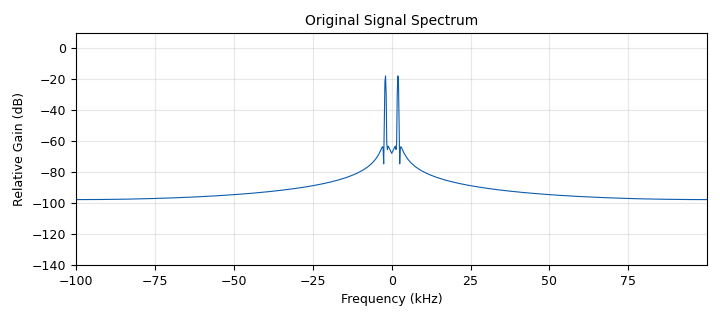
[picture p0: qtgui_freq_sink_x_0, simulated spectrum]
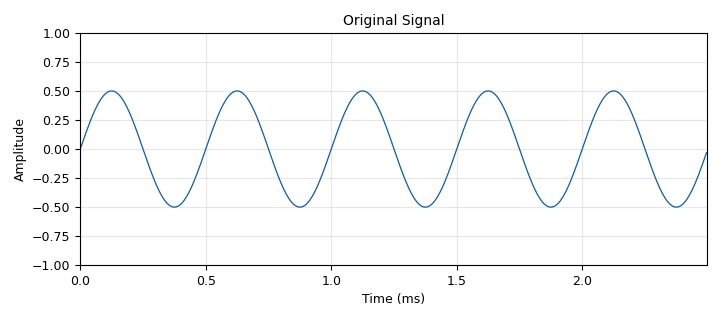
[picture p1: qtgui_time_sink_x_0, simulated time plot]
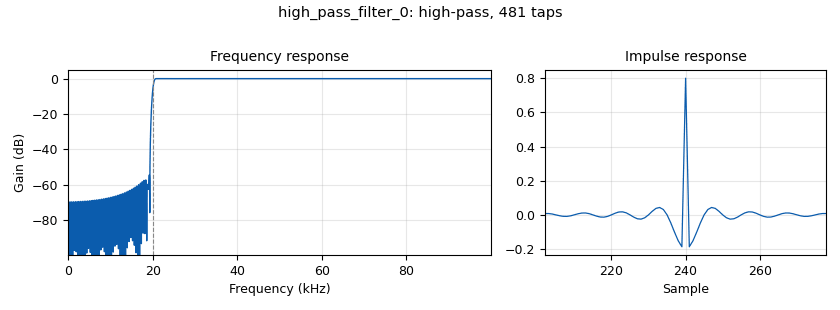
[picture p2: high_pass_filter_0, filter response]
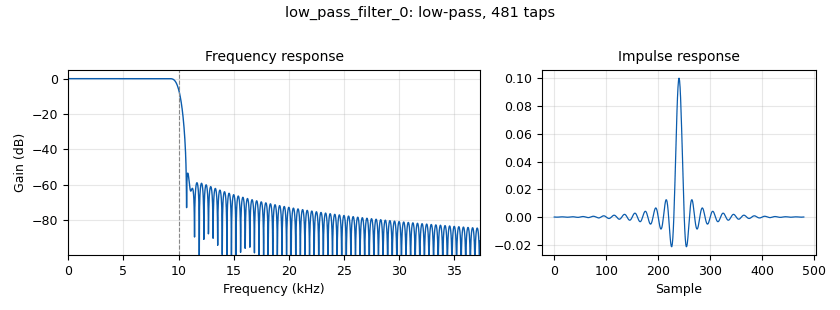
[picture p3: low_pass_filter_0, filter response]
options:
  parameters:
    generate_options: qt_gui
    id: AM_sim_block
    output_language: python
    title: AM Modulation-Demodulation
  states: {}

blocks:
- name: AM_coef
  id: variable_qtgui_range
  parameters:
    gui_hint: 0,0,1,1
    label: 'Ma(amplitude Modulation coefficient):'
    orient: Qt.Horizontal
    start: '0.6'
    step: '0.1'
    stop: '2'
    value: '1'
  states: {}
- name: freq
  id: variable_qtgui_range
  parameters:
    gui_hint: 0,1,1,1
    label: Carrier Frequency
    orient: Qt.Horizontal
    rangeType: int
    start: '18000'
    step: '100'
    stop: '50000'
    value: '25000'
  states: {}
- name: freq0
  id: variable
  parameters:
    value: 2e3
  states: {}
- name: num
  id: variable
  parameters:
    value: '500'
  states: {}
- name: samp_rate
  id: variable
  parameters:
    value: '200000'
  states: {}
- name: signal_select
  id: variable_qtgui_chooser
  parameters:
    gui_hint: 1,0,1,1
    label: SIGNAL SELECT
    label0: WAV
    label1: SINE
    num_opts: '2'
    option0: '1'
    option1: '0'
    type: real
    value: '1'
    widget: radio_buttons
  states: {}
- name: analog_sig_source_x_0
  id: analog_sig_source_x
  parameters:
    amp: '.5'
    comment: |-
      Signal_Generator1
      Signal_source
    freq: freq0
    offset: '0'
    phase: '0'
    samp_rate: samp_rate
    type: float
    waveform: analog.GR_SIN_WAVE
  states: {}
- name: analog_sig_source_x_1
  id: analog_sig_source_x
  parameters:
    amp: '0.5'
    comment: |-
      Signal_Generator3
      CarrierWave
    freq: freq
    offset: '0'
    phase: '0'
    samp_rate: samp_rate
    type: complex
    waveform: analog.GR_COS_WAVE
  states: {}
- name: analog_sig_source_x_1_0
  id: analog_sig_source_x
  parameters:
    amp: '1'
    comment: |-
      Signal_Generator4
      CarrierWave
    freq: freq
    offset: '0'
    phase: '0'
    samp_rate: samp_rate
    type: complex
    waveform: analog.GR_COS_WAVE
  states: {}
- name: analog_sig_source_x_2
  id: analog_sig_source_x
  parameters:
    amp: 0.5/AM_coef
    comment: |-
      Signal_Generator2
      DC_offset
    freq: '2000'
    offset: '0'
    phase: '0'
    samp_rate: samp_rate
    type: float
    waveform: analog.GR_CONST_WAVE
  states: {}
- name: analog_sig_source_x_2_0
  id: analog_sig_source_x
  parameters:
    amp: '0'
    comment: |-
      Signal_Generator2
      DC_offset
    freq: '2000'
    offset: '0'
    phase: '0'
    samp_rate: samp_rate
    type: float
    waveform: analog.GR_CONST_WAVE
  states: {}
- name: audio_sink_0
  id: audio_sink
  parameters:
    samp_rate: samp_rate
  states: {}
- name: blocks_add_xx_0
  id: blocks_add_xx
  parameters:
    type: float
  states: {}
- name: blocks_add_xx_0_0
  id: blocks_add_xx
  parameters:
    type: float
  states: {}
- name: blocks_complex_to_mag_0
  id: blocks_complex_to_mag
  parameters: {}
  states: {}
- name: blocks_complex_to_real_0
  id: blocks_complex_to_real
  parameters: {}
  states: {}
- name: blocks_float_to_complex_0
  id: blocks_float_to_complex
  parameters: {}
  states: {}
- name: blocks_float_to_complex_0_0
  id: blocks_float_to_complex
  parameters: {}
  states: {}
- name: blocks_float_to_complex_1
  id: blocks_float_to_complex
  parameters: {}
  states: {}
- name: blocks_multiply_xx_0
  id: blocks_multiply_xx
  parameters:
    comment: UpConvert
    type: complex
  states: {}
- name: blocks_multiply_xx_1
  id: blocks_multiply_xx
  parameters:
    comment: DownConvert
    type: complex
  states: {}
- name: blocks_selector_0
  id: blocks_selector
  parameters:
    enabled: 'True'
    input_index: signal_select
    num_inputs: '2'
    num_outputs: '1'
    output_index: '0'
    type: float
  states: {}
- name: blocks_selector_0_0
  id: blocks_selector
  parameters:
    enabled: 'True'
    input_index: '0'
    num_inputs: '2'
    num_outputs: '1'
    output_index: '0'
    type: float
  states: {}
- name: blocks_wavfile_source_0
  id: blocks_wavfile_source
  parameters:
    file: /mnt/hgfs/shengwen_file/speech.wav
    repeat: 'True'
  states: {}
- name: dc_blocker_xx_0
  id: dc_blocker_xx
  parameters:
    length: '3200'
    long_form: 'True'
    type: ff
  states: {}
- name: high_pass_filter_0
  id: high_pass_filter
  parameters:
    cutoff_freq: '20000'
    decim: '1'
    gain: '1'
    samp_rate: samp_rate
    type: fir_filter_ccf
    width: '1000'
    win: firdes.WIN_HAMMING
  states: {}
- name: low_pass_filter_0
  id: low_pass_filter
  parameters:
    cutoff_freq: freq0*5
    decim: '1'
    gain: '1'
    samp_rate: samp_rate
    type: fir_filter_ccf
    width: freq0/2
    win: firdes.WIN_HAMMING
  states: {}
- name: qtgui_freq_sink_x_0
  id: qtgui_freq_sink_x
  parameters:
    average: '0.05'
    bw: samp_rate
    fc: '0'
    fftsize: '1024'
    grid: 'True'
    gui_hint: tab@1:0,0,1,1
    legend: 'False'
    name: Original Signal Spectrum
    showports: 'True'
    type: float
    wintype: firdes.WIN_HAMMING
  states: {}
- name: qtgui_freq_sink_x_0_0
  id: qtgui_freq_sink_x
  parameters:
    bw: samp_rate
    fc: '0'
    fftsize: '1024'
    gui_hint: tab@1:0,1,1,1
    legend: 'False'
    name: AM Signal Spectrum
    showports: 'True'
    type: float
    wintype: firdes.WIN_HAMMING
  states: {}
- name: qtgui_freq_sink_x_0_1
  id: qtgui_freq_sink_x
  parameters:
    bw: samp_rate
    fc: '0'
    fftsize: '1024'
    gui_hint: tab@1:1,0,1,1
    legend: 'False'
    name: Before DC Blocking-Spectrum
    showports: 'True'
    type: float
    wintype: firdes.WIN_HAMMING
  states: {}
- name: qtgui_freq_sink_x_0_1_0
  id: qtgui_freq_sink_x
  parameters:
    bw: samp_rate
    fc: '0'
    fftsize: '1024'
    gui_hint: tab@1:1,1,1,1
    legend: 'False'
    name: Demod Signal Spectrum
    showports: 'True'
    type: float
    wintype: firdes.WIN_HAMMING
  states: {}
- name: qtgui_histogram_sink_x_0
  id: qtgui_histogram_sink_x
  parameters:
    bins: '100'
    grid: 'True'
    gui_hint: 3,0,1,1
    name: '"Histogram"'
    size: '1024'
    type: float
    xmax: '1'
    xmin: '-1'
  states: {}
- name: qtgui_time_sink_x_0
  id: qtgui_time_sink_x
  parameters:
    grid: 'True'
    gui_hint: tab@0:0,0,1,1
    label1: ''
    legend: 'False'
    name: Original Signal
    size: num
    srate: samp_rate
    type: float
  states: {}
- name: qtgui_time_sink_x_0_0
  id: qtgui_time_sink_x
  parameters:
    autoscale: 'True'
    gui_hint: tab@0:0,1,1,1
    label1: ''
    legend: 'False'
    name: AM Signal
    size: num
    srate: samp_rate
    type: float
    ymax: '3'
    ymin: '-3'
  states: {}
- name: qtgui_time_sink_x_0_1
  id: qtgui_time_sink_x
  parameters:
    gui_hint: tab@0:1,0,1,1
    label1: ''
    legend: 'False'
    name: Before DC Blocking
    size: num
    srate: samp_rate
    type: float
    ymax: '6'
  states: {}
- name: qtgui_time_sink_x_0_1_0
  id: qtgui_time_sink_x
  parameters:
    gui_hint: tab@0:1,1,1,1
    label1: ''
    legend: 'False'
    name: Demod Signal
    size: num
    srate: samp_rate
    type: float
  states: {}
- name: qtgui_time_sink_x_1
  id: qtgui_time_sink_x
  parameters:
    grid: 'True'
    gui_hint: tab@0:0,2,1,1
    legend: 'False'
    name: '"Offset1 Voltage"'
    size: '1024'
    srate: samp_rate
    tr_level: '0'
    tr_tag: '"trig"'
    type: float
    ylabel: Vlotage
    ymax: '2'
    ymin: '0'
    yunit: '"v"'
  states: {}
- name: qtgui_time_sink_x_1_0
  id: qtgui_time_sink_x
  parameters:
    grid: 'True'
    gui_hint: tab@0:1,2,1,1
    legend: 'False'
    name: '"Offset2 Voltage"'
    size: '1024'
    srate: samp_rate
    tr_level: '0'
    tr_tag: '"trig"'
    type: float
    ylabel: Vlotage
    ymax: '2'
    ymin: '0'
    yunit: '"v"'
  states: {}
- name: qtgui_waterfall_sink_x_0
  id: qtgui_waterfall_sink_x
  parameters:
    bw: samp_rate
    fc: '2000'
    fftsize: '1024'
    gui_hint: 3,1,20,1
    name: '"WaterFall"'
    type: float
    wintype: firdes.WIN_BLACKMAN_hARRIS
  states: {}
- name: rational_resampler_xxx_0
  id: rational_resampler_xxx
  parameters:
    decim: '20'
    fbw: ''
    interp: '80'
    taps: ''
    type: fff
  states: {}
- name: tab
  id: qtgui_tab_widget
  parameters:
    gui_hint: 2,0,1,2
    label0: Time Axis Waveform
    label1: Spectrum
    num_tabs: '2'
  states: {}
- name: uhd_usrp_sink_0
  id: uhd_usrp_sink
  parameters:
    ant0: TX/RX
    center_freq0: '0'
    dev_args: '""'
    gain0: '0'
    len_tag_name: ''
    norm_gain0: 'False'
    samp_rate: samp_rate
    sync: none
    type: fc32
  states: {}
- name: virtual_sink_0
  id: virtual_sink
  parameters:
    stream_id: after_channel_data
  states: {}
- name: virtual_source_0
  id: virtual_source
  parameters:
    stream_id: after_channel_data
  states: {}

connections:
- [analog_sig_source_x_0, '0', blocks_selector_0, '0']
- [analog_sig_source_x_0, '0', qtgui_freq_sink_x_0, '0']
- [analog_sig_source_x_0, '0', qtgui_time_sink_x_0, '0']
- [analog_sig_source_x_1, '0', blocks_multiply_xx_0, '0']
- [analog_sig_source_x_1_0, '0', blocks_multiply_xx_1, '1']
- [analog_sig_source_x_2, '0', blocks_add_xx_0, '1']
- [analog_sig_source_x_2, '0', qtgui_time_sink_x_1, '0']
- [analog_sig_source_x_2_0, '0', blocks_add_xx_0_0, '0']
- [analog_sig_source_x_2_0, '0', qtgui_time_sink_x_1_0, '0']
- [blocks_add_xx_0, '0', blocks_float_to_complex_0, '0']
- [blocks_add_xx_0_0, '0', blocks_float_to_complex_0_0, '0']
- [blocks_complex_to_mag_0, '0', blocks_selector_0_0, '1']
- [blocks_complex_to_mag_0, '0', dc_blocker_xx_0, '0']
- [blocks_complex_to_mag_0, '0', qtgui_freq_sink_x_0_1, '0']
- [blocks_complex_to_mag_0, '0', qtgui_time_sink_x_0_1, '0']
- [blocks_complex_to_real_0, '0', blocks_selector_0_0, '0']
- [blocks_complex_to_real_0, '0', qtgui_freq_sink_x_0_0, '0']
- [blocks_complex_to_real_0, '0', qtgui_time_sink_x_0_0, '0']
- [blocks_complex_to_real_0, '0', virtual_sink_0, '0']
- [blocks_float_to_complex_0, '0', blocks_multiply_xx_0, '1']
- [blocks_float_to_complex_0_0, '0', high_pass_filter_0, '0']
- [blocks_float_to_complex_1, '0', blocks_multiply_xx_1, '0']
- [blocks_multiply_xx_0, '0', blocks_complex_to_real_0, '0']
- [blocks_multiply_xx_1, '0', low_pass_filter_0, '0']
- [blocks_selector_0, '0', audio_sink_0, '0']
- [blocks_selector_0, '0', blocks_add_xx_0, '0']
- [blocks_selector_0_0, '0', blocks_add_xx_0_0, '1']
- [blocks_wavfile_source_0, '0', rational_resampler_xxx_0, '0']
- [dc_blocker_xx_0, '0', qtgui_freq_sink_x_0_1_0, '0']
- [dc_blocker_xx_0, '0', qtgui_time_sink_x_0_1_0, '0']
- [high_pass_filter_0, '0', uhd_usrp_sink_0, '0']
- [low_pass_filter_0, '0', blocks_complex_to_mag_0, '0']
- [rational_resampler_xxx_0, '0', blocks_selector_0, '1']
- [rational_resampler_xxx_0, '0', qtgui_histogram_sink_x_0, '0']
- [rational_resampler_xxx_0, '0', qtgui_waterfall_sink_x_0, '0']
- [virtual_source_0, '0', blocks_float_to_complex_1, '0']

metadata:
  file_format: 1
